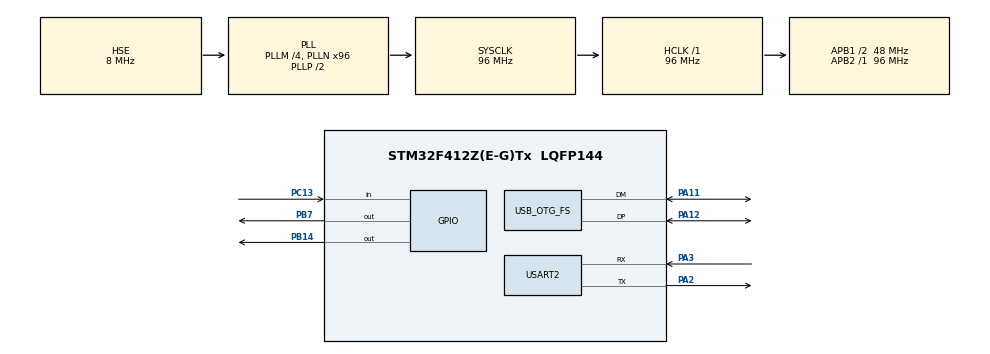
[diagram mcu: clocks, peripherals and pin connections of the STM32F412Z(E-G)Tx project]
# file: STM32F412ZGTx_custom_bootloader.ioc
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Mcu.Family=STM32F4
Mcu.Name=STM32F412Z(E-G)Tx
Mcu.Package=LQFP144
NVIC.OTG_FS_IRQn=true\:0\:0\:false\:false\:true\:false\:true
NVIC.PriorityGroup=NVIC_PRIORITYGROUP_4
PA11.Mode=Device_Only
PA11.Signal=USB_OTG_FS_DM
PA12.Mode=Device_Only
PA12.Signal=USB_OTG_FS_DP
PA2.Mode=Asynchronous
PA2.Signal=USART2_TX
PA3.Mode=Asynchronous
PA3.Signal=USART2_RX
PB14.Signal=GPIO_Output
PB7.Signal=GPIO_Output
PC13.Signal=GPIO_Input
PH0\ -\ OSC_IN.Mode=HSE-External-Oscillator
PH0\ -\ OSC_IN.Signal=RCC_OSC_IN
PH1\ -\ OSC_OUT.Mode=HSE-External-Oscillator
PH1\ -\ OSC_OUT.Signal=RCC_OSC_OUT
ProjectManager.HeapSize=0x1000
ProjectManager.StackSize=0x400
ProjectManager.TargetToolchain=STM32CubeIDE
RCC.AHBFreq_Value=96000000
RCC.APB1CLKDivider=RCC_HCLK_DIV2
RCC.APB1Freq_Value=48000000
RCC.APB1TimFreq_Value=96000000
RCC.APB2Freq_Value=96000000
RCC.APB2TimFreq_Value=96000000
RCC.CortexFreq_Value=96000000
RCC.HCLKFreq_Value=96000000
RCC.HSE_VALUE=8000000
RCC.PLLM=4
RCC.PLLN=96
RCC.PLLQ=4
RCC.PLLSourceVirtual=RCC_PLLSOURCE_HSE
RCC.SYSCLKFreq_VALUE=96000000
RCC.SYSCLKSource=RCC_SYSCLKSOURCE_PLLCLK
RCC.USBFreq_Value=48000000
RCC.VCOOutputFreq_Value=192000000
USART2.VirtualMode=VM_ASYNC
USB_DEVICE.CLASS_NAME_FS=DFU
USB_DEVICE.USBD_DFU_APP_DEFAULT_ADD=0x08020000
USB_DEVICE.USBD_DFU_MEDIA=@Internal Flash   /0x08000000/04*016Ka,01*064Kg,07*128Kg
USB_DEVICE.VirtualMode=Dfu
USB_DEVICE.VirtualModeFS=Dfu_FS
USB_OTG_FS.VirtualMode=Device_Only
VP_USB_DEVICE_VS_USB_DEVICE_DFU_FS.Mode=DFU_FS
board=custom

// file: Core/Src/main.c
/* USER CODE BEGIN Header */
/**
  ******************************************************************************
  * @file           : main.c
  * @brief          : Main program body
  ******************************************************************************
  * @attention
  *
  * <h2><center>&copy; Copyright (c) 2021 STMicroelectronics.
  * All rights reserved.</center></h2>
  *
  * This software component is licensed by ST under BSD 3-Clause license,
  * the "License"; You may not use this file except in compliance with the
  * License. You may obtain a copy of the License at:
  *                        opensource.org/licenses/BSD-3-Clause
  *
  ******************************************************************************
  */
/* USER CODE END Header */
#include "main.h"
#include "usart.h"
#include "gpio.h"

/* USER CODE BEGIN Includes */
#include <stdio.h>
#include <string.h>
#include "usb_device.h"
#include "bootloader.h"
#include "flash.h"
/* USER CODE END Includes */

/* USER CODE BEGIN PTD */
typedef  void (*pFunction)(void);

pFunction JumpToApplication;
uint32_t JumpAddress;
/* USER CODE END PTD */

void SystemClock_Config(void);

/* USER CODE BEGIN 0 */
int __io_putchar(int ch)
{
	// if(HAL_UART_Transmit(&huart2, (uint8_t *)&ch, 1, 10) != HAL_OK)
	// 	return -1;
	HAL_UART_Transmit(&huart2, (uint8_t *)&ch, 1, 1);
	return ch;
}
/* USER CODE END 0 */

int main(void)
{

  /* MCU Configuration--------------------------------------------------------*/

  /* Reset of all peripherals, Initializes the Flash interface and the Systick. */
  HAL_Init();

  /* Configure the system clock */
  SystemClock_Config();

  /* Initialize all configured peripherals */
  MX_GPIO_Init();
  MX_USART2_UART_Init();
  /* USER CODE BEGIN 2 */
  printf("Custom bootloader start... \r\n");
  HAL_GPIO_WritePin(GPIOB, GPIO_PIN_14|GPIO_PIN_7, GPIO_PIN_SET);
  /* USER CODE END 2 */

  /* Infinite loop */
  /* USER CODE BEGIN WHILE */
  HAL_Delay(500);

  /*
    check valid application
    if not, DFU mode
  */
  if (((*(__IO uint32_t *) USBD_DFU_APP_DEFAULT_ADD-1) & 0x2FFC0000) == 0x20000000)
  {
    printf("valid app \r\n");

    /*  roll back when DFU fail caused by version, key etc.  */
    bootloader_check_DFU();

    /* If user button is not pressed, jump to application */
    if(HAL_GPIO_ReadPin(GPIOC, GPIO_PIN_13) == GPIO_PIN_RESET)
    {
      printf("button is not pressed, jump to application \r\n");
      HAL_GPIO_WritePin(GPIOB, GPIO_PIN_7, GPIO_PIN_RESET);
      HAL_Delay(100);
      /* Jump to user application */
      JumpAddress = *(__IO uint32_t *) (USBD_DFU_APP_DEFAULT_ADD + 4);
      JumpToApplication = (pFunction) JumpAddress;

      /* initialize peripheral, clock, hal etc. */
      HAL_UART_MspDeInit(&huart2);
      MX_GPIO_DeInit();
      HAL_RCC_DeInit();
      HAL_DeInit();

	    SysTick->CTRL = 0;
	    SysTick->LOAD = 0;
	    SysTick->VAL  = 0;

      /* Initialize user application's Stack Pointer */
      __set_MSP(*(__IO uint32_t *) USBD_DFU_APP_DEFAULT_ADD);

      JumpToApplication();
    }
    else
    {
      /* back up code */
      printf("ready to dfu \r\n");
      bootloader_copy_image(USBD_DFU_APP_DEFAULT_ADD, ADDR_FLASH_COPY, APP_NUMS_SECTOR);
      HAL_Delay(100);
    }
  }
  else
  {
    /*  whether there is a code at back up region  */
    if (((*(__IO uint32_t *) ADDR_FLASH_COPY - 1) & 0x2FFC0000) == 0x20000000)
    {
      printf("DFU fail during erase , roll back \r\n");
      bootloader_rollback_version();
    }
    printf("invalid app \r\n");
  }

  MX_USB_DEVICE_Init();
  printf("DFU mode \r\n");
  while (1)
  {
    HAL_GPIO_TogglePin(GPIOB, GPIO_PIN_7);
    HAL_GPIO_TogglePin(GPIOB, GPIO_PIN_14);
    HAL_Delay(500);
    /* USER CODE END WHILE */

  }
}

void SystemClock_Config(void)
{
  RCC_OscInitTypeDef RCC_OscInitStruct = {0};
  RCC_ClkInitTypeDef RCC_ClkInitStruct = {0};
  RCC_PeriphCLKInitTypeDef PeriphClkInitStruct = {0};

  /** Configure the main internal regulator output voltage
  */
  __HAL_RCC_PWR_CLK_ENABLE();
  __HAL_PWR_VOLTAGESCALING_CONFIG(PWR_REGULATOR_VOLTAGE_SCALE1);
  /** Initializes the RCC Oscillators according to the specified parameters
  * in the RCC_OscInitTypeDef structure.
  */
  RCC_OscInitStruct.OscillatorType = RCC_OSCILLATORTYPE_HSE;
  RCC_OscInitStruct.HSEState = RCC_HSE_ON;
  RCC_OscInitStruct.PLL.PLLState = RCC_PLL_ON;
  RCC_OscInitStruct.PLL.PLLSource = RCC_PLLSOURCE_HSE;
  RCC_OscInitStruct.PLL.PLLM = 4;
  RCC_OscInitStruct.PLL.PLLN = 96;
  RCC_OscInitStruct.PLL.PLLP = RCC_PLLP_DIV2;
  RCC_OscInitStruct.PLL.PLLQ = 4;
  RCC_OscInitStruct.PLL.PLLR = 2;
  if (HAL_RCC_OscConfig(&RCC_OscInitStruct) != HAL_OK)
  {
    Error_Handler();
  }
  /** Initializes the CPU, AHB and APB buses clocks
  */
  RCC_ClkInitStruct.ClockType = RCC_CLOCKTYPE_HCLK|RCC_CLOCKTYPE_SYSCLK
                              |RCC_CLOCKTYPE_PCLK1|RCC_CLOCKTYPE_PCLK2;
  RCC_ClkInitStruct.SYSCLKSource = RCC_SYSCLKSOURCE_PLLCLK;
  RCC_ClkInitStruct.AHBCLKDivider = RCC_SYSCLK_DIV1;
  RCC_ClkInitStruct.APB1CLKDivider = RCC_HCLK_DIV2;
  RCC_ClkInitStruct.APB2CLKDivider = RCC_HCLK_DIV1;

  if (HAL_RCC_ClockConfig(&RCC_ClkInitStruct, FLASH_LATENCY_3) != HAL_OK)
  {
    Error_Handler();
  }
  PeriphClkInitStruct.PeriphClockSelection = RCC_PERIPHCLK_CLK48;
  PeriphClkInitStruct.Clk48ClockSelection = RCC_CLK48CLKSOURCE_PLLQ;
  if (HAL_RCCEx_PeriphCLKConfig(&PeriphClkInitStruct) != HAL_OK)
  {
    Error_Handler();
  }
}

void Error_Handler(void)
{
  __disable_irq();
  while (1)
  {
  }
}

/************************ (C) COPYRIGHT STMicroelectronics *****END OF FILE****/
